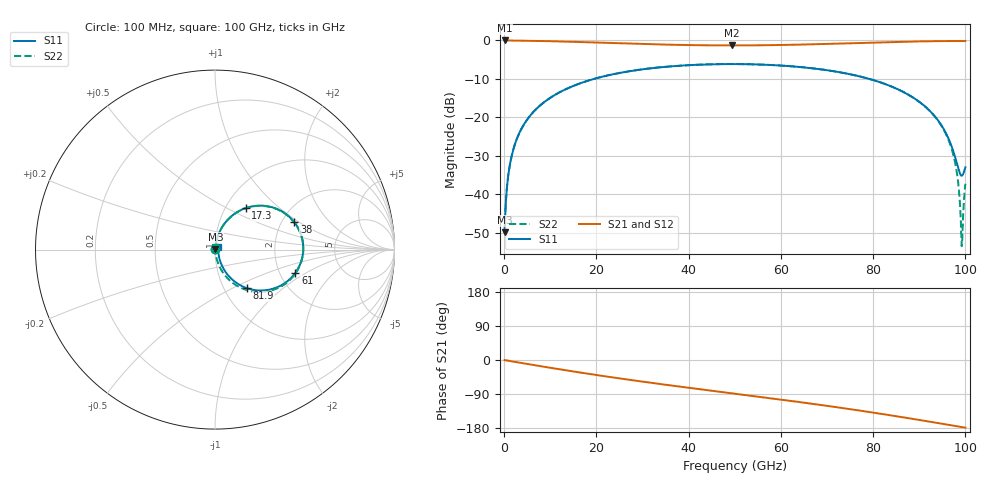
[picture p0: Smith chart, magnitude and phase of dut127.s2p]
! Touchstone file exported from HFSS 2026.1.0
!  File:  C:/ffzhzh/LocalFiles/Ansys_Project_Files/temp_train_RDL_127_1783499528_55944.aedt
!  Generated:  04:33:25 PM Jul  8, 2026
!  Design:  RDL
!  Project:  temp_train_RDL_127_1783499528_55944
! Variables:
!  h_bsmrdl = 2um
!  h_ox = 20um
!  h_rdl = 5um
!  h_sub = 80um
!  h_tmrdl = 3.79um
!  h_tsv = 80um
!  h_via = 3um
!  l_bsmrdl = 300um
!  l_sub = 995.75um
!  l_tmrdl = 595.75um
!  m_sub = 200um
!  pitch = 49.5um
!  r_tsv = 6um
!  s_tmrdl = 10um
!  w_bsmrdl = 18um
!  w_sub = 500um
!  w_tmrdl = 25.89um
!  x_tsv_center1 = 608.695um
!  x_tsv_center2 = 926.695um
!  x_tsv_center3 = 1548.335um
!  x_tsv_center4 = 1866.335um
!  x_tsv_center5 = 2487.975um
!  x_tsv_center6 = 2805.975um
# GHz S MA R 50.000000
! Terminal data exported
! Port[1] = TM_RDL1_1_T1
! Port[2] = TM_RDL1_1_T2
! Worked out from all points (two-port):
!   1000 points, 100 MHz to 100 GHz, reference 50 ohm
!   highest |S21| = -0.02 dB at 100 MHz (marker M1); lowest = -1.3 dB at 49.4 GHz (marker M2)
!   |S21| within 3 dB of the highest: start of sweep to end of sweep
!   lowest |S11| = -49.9 dB at 100 MHz (marker M3), VSWR 1.01, Z = 50.2 + j0.216 ohm
!   |S11| at or under -10 dB: start of sweep to 19.56 GHz; 79.08 GHz to end of sweep
!   |S22| runs from -53.6 to -6.2 dB; largest |S21 - S12| = 1.8e-14
!   S11 on the Smith chart (normalised r, x): 100 MHz: 1.00, +0.00; 17.3 GHz: 1.24, +0.62; 38 GHz: 2.34, +0.91; 61 GHz: 2.44, -0.80; 81.9 GHz: 1.28, -0.60; 100 GHz: 1.03, +0.03
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0.1  0.003202 42.1  0.9976 -0.2  0.9976 -0.2  0.003202 42.1
! Gamma 0 0 0 0
! Port Impedance 50 0 50 0
0.9  0.01768 78.1  0.9968 -1.9  0.9968 -1.9  0.01769 78.1
1.5  0.02891 80.3  0.9963 -3.2  0.9963 -3.2  0.02891 80.3
4  0.07536 78.2  0.9927 -8.4  0.9927 -8.4  0.07536 78.2
8.9  0.1609 69.2  0.9799 -18.4  0.9799 -18.4  0.1609 69.1
16.8  0.2805 54.5  0.9504 -33.7  0.9504 -33.7  0.2806 54.3
17.3  0.2873 53.6  0.9483 -34.6  0.9483 -34.6  0.2873 53.4
33.4  0.4437 26.2  0.8853 -62.7  0.8853 -62.7  0.4438 25.9
38  0.4678 19.0  0.8729 -70.1  0.8729 -70.1  0.4679 18.5
49.4  0.4919 1.6  0.8596 -87.9  0.8596 -87.9  0.4921 1.0
50.1  0.4918 0.6  0.8597 -89.0  0.8597 -89.0  0.492 -0.1
61  0.4662 -16.0  0.8731 -106.1  0.8731 -106.1  0.4664 -17.0
66.7  0.4341 -25.0  0.8886 -115.4  0.8886 -115.4  0.4343 -26.2
81.9  0.2799 -50.3  0.9449 -142.4  0.9449 -142.4  0.28 -52.8
83.4  0.2593 -52.8  0.9503 -145.2  0.9503 -145.2  0.2594 -55.7
89.7  0.1636 -62.7  0.9695 -157.6  0.9695 -157.6  0.1634 -67.7
94.1  0.09052 -66.5  0.9778 -166.5  0.9778 -166.5  0.08958 -75.9
97.5  0.03436 -54.1  0.9805 -173.4  0.9805 -173.4  0.03045 -80.3
98.3  0.02334 -38.1  0.9807 -175.1  0.9807 -175.1  0.01648 -78.7
99.1  0.0174 -2.9  0.9806 -176.7  0.9806 -176.7  0.003079 -46.3
99.5  0.01815 18.9  0.9805 -177.5  0.9805 -177.5  0.005109 68.5
100  0.02238 39.8  0.9803 -178.5  0.9803 -178.5  0.0136 82.3
